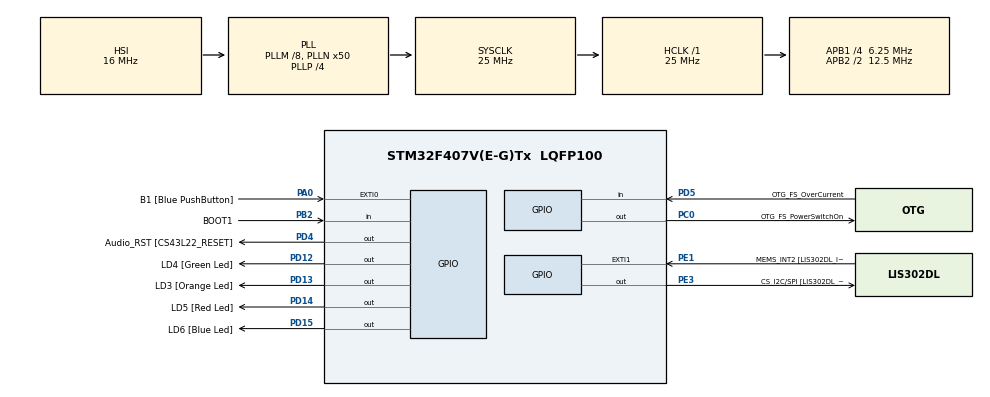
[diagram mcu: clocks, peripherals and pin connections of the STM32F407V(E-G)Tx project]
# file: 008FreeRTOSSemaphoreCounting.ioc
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Mcu.Family=STM32F4
Mcu.Name=STM32F407V(E-G)Tx
Mcu.Package=LQFP100
NVIC.PriorityGroup=NVIC_PRIORITYGROUP_0
NVIC.TIM6_DAC_IRQn=true\:0\:0\:false\:false\:true\:false\:true\:true
NVIC.TimeBase=TIM6_DAC_IRQn
NVIC.TimeBaseIP=TIM6
PA0-WKUP.GPIO_Label=B1 [Blue PushButton]
PA0-WKUP.Signal=GPXTI0
PA10.GPIO_Label=OTG_FS_ID
PA10.GPIO_Mode=GPIO_MODE_AF_PP
PA10.GPIO_PuPd=GPIO_NOPULL
PA10.GPIO_Speed=GPIO_SPEED_FREQ_LOW
PA10.Signal=USB_OTG_FS_ID
PA11.GPIO_Label=OTG_FS_DM
PA11.GPIO_Mode=GPIO_MODE_AF_PP
PA11.GPIO_PuPd=GPIO_NOPULL
PA11.GPIO_Speed=GPIO_SPEED_FREQ_LOW
PA11.Signal=USB_OTG_FS_DM
PA12.GPIO_Label=OTG_FS_DP
PA12.GPIO_Mode=GPIO_MODE_AF_PP
PA12.GPIO_PuPd=GPIO_NOPULL
PA12.GPIO_Speed=GPIO_SPEED_FREQ_LOW
PA12.Signal=USB_OTG_FS_DP
PA13.GPIO_Label=SWDIO
PA13.Signal=SYS_JTMS-SWDIO
PA14.GPIO_Label=SWCLK
PA14.Signal=SYS_JTCK-SWCLK
PA4.GPIO_Label=I2S3_WS [CS43L22_LRCK]
PA4.GPIO_Mode=GPIO_MODE_AF_PP
PA4.GPIO_PuPd=GPIO_NOPULL
PA4.GPIO_Speed=GPIO_SPEED_FREQ_LOW
PA4.Signal=I2S3_WS
PA5.GPIO_Label=SPI1_SCK [LIS302DL_SCL/SPC]
PA5.GPIO_Mode=GPIO_MODE_AF_PP
PA5.GPIO_PuPd=GPIO_NOPULL
PA5.GPIO_Speed=GPIO_SPEED_FREQ_LOW
PA5.Signal=SPI1_SCK
PA6.GPIO_Label=SPI1_MISO [LIS302DL_SDO]
PA6.GPIO_Mode=GPIO_MODE_AF_PP
PA6.GPIO_PuPd=GPIO_NOPULL
PA6.GPIO_Speed=GPIO_SPEED_FREQ_LOW
PA6.Signal=SPI1_MISO
PA7.GPIO_Label=SPI1_MOSI [LIS302DL_SDA/SDI/SDO]
PA7.GPIO_Mode=GPIO_MODE_AF_PP
PA7.GPIO_PuPd=GPIO_NOPULL
PA7.GPIO_Speed=GPIO_SPEED_FREQ_LOW
PA7.Signal=SPI1_MOSI
PA9.GPIO_Label=VBUS_FS
PA9.GPIO_Mode=GPIO_MODE_INPUT
PA9.GPIO_PuPd=GPIO_NOPULL
PA9.Signal=USB_OTG_FS_VBUS
PB10.GPIO_Label=CLK_IN [MP45DT02_CLK]
PB10.GPIO_Mode=GPIO_MODE_AF_PP
PB10.GPIO_PuPd=GPIO_NOPULL
PB10.GPIO_Speed=GPIO_SPEED_FREQ_LOW
PB10.Signal=I2S2_CK
PB2.GPIO_Label=BOOT1
PB2.GPIO_Mode=GPIO_MODE_INPUT
PB2.GPIO_PuPd=GPIO_NOPULL
PB2.Signal=GPIO_Input
PB3.GPIO_Label=SWO
PB3.Signal=SYS_JTDO-SWO
PB6.GPIO_Label=Audio_SCL [CS43L22_SCL]
PB6.GPIO_Mode=GPIO_MODE_AF_OD
PB6.GPIO_PuPd=GPIO_NOPULL
PB6.GPIO_Speed=GPIO_SPEED_FREQ_LOW
PB6.Signal=I2C1_SCL
PB9.GPIO_Label=Audio_SDA [CS43L22_SDA]
PB9.GPIO_Mode=GPIO_MODE_AF_OD
PB9.GPIO_PuPd=GPIO_NOPULL
PB9.GPIO_Speed=GPIO_SPEED_FREQ_LOW
PB9.Signal=I2C1_SDA
PC0.GPIO_Label=OTG_FS_PowerSwitchOn
PC0.GPIO_PuPd=GPIO_NOPULL
PC0.GPIO_Speed=GPIO_SPEED_FREQ_LOW
PC0.PinState=GPIO_PIN_SET
PC0.Signal=GPIO_Output
PC10.GPIO_Label=I2S3_SCK [CS43L22_SCLK]
PC10.GPIO_Mode=GPIO_MODE_AF_PP
PC10.GPIO_PuPd=GPIO_NOPULL
PC10.GPIO_Speed=GPIO_SPEED_FREQ_LOW
PC10.Signal=I2S3_CK
PC12.GPIO_Label=I2S3_SD [CS43L22_SDIN]
PC12.GPIO_Mode=GPIO_MODE_AF_PP
PC12.GPIO_PuPd=GPIO_NOPULL
PC12.GPIO_Speed=GPIO_SPEED_FREQ_LOW
PC12.Signal=I2S3_SD
PC14-OSC32_IN.GPIO_Label=PC14-OSC32_IN
PC14-OSC32_IN.Signal=RCC_OSC32_IN
PC15-OSC32_OUT.GPIO_Label=PC15-OSC32_OUT
PC15-OSC32_OUT.Signal=RCC_OSC32_OUT
PC3.GPIO_Label=PDM_OUT [MP45DT02_DOUT]
PC3.GPIO_Mode=GPIO_MODE_AF_PP
PC3.GPIO_PuPd=GPIO_NOPULL
PC3.GPIO_Speed=GPIO_SPEED_FREQ_LOW
PC3.Signal=I2S2_SD
PC7.GPIO_Label=I2S3_MCK [CS43L22_MCLK]
PC7.GPIO_Mode=GPIO_MODE_AF_PP
PC7.GPIO_PuPd=GPIO_NOPULL
PC7.GPIO_Speed=GPIO_SPEED_FREQ_LOW
PC7.Signal=I2S3_MCK
PD12.GPIO_Label=LD4 [Green Led]
PD12.GPIO_PuPd=GPIO_NOPULL
PD12.GPIO_Speed=GPIO_SPEED_FREQ_LOW
PD12.Signal=GPIO_Output
PD13.GPIO_Label=LD3 [Orange Led]
PD13.GPIO_PuPd=GPIO_NOPULL
PD13.GPIO_Speed=GPIO_SPEED_FREQ_LOW
PD13.Signal=GPIO_Output
PD14.GPIO_Label=LD5 [Red Led]
PD14.GPIO_PuPd=GPIO_NOPULL
PD14.GPIO_Speed=GPIO_SPEED_FREQ_LOW
PD14.Signal=GPIO_Output
PD15.GPIO_Label=LD6 [Blue Led]
PD15.GPIO_PuPd=GPIO_NOPULL
PD15.GPIO_Speed=GPIO_SPEED_FREQ_LOW
PD15.Signal=GPIO_Output
PD4.GPIO_Label=Audio_RST [CS43L22_RESET]
PD4.GPIO_PuPd=GPIO_NOPULL
PD4.GPIO_Speed=GPIO_SPEED_FREQ_LOW
PD4.Signal=GPIO_Output
PD5.GPIO_Label=OTG_FS_OverCurrent
PD5.GPIO_Mode=GPIO_MODE_INPUT
PD5.GPIO_PuPd=GPIO_NOPULL
PD5.Signal=GPIO_Input
PE1.GPIO_Label=MEMS_INT2 [LIS302DL_INT2]
PE1.GPIO_ModeDefaultEXTI=GPIO_MODE_EVT_RISING
PE1.GPIO_PuPd=GPIO_NOPULL
PE1.Signal=GPXTI1
PE3.GPIO_Label=CS_I2C/SPI [LIS302DL_CS_I2C/SPI]
PE3.GPIO_PuPd=GPIO_NOPULL
PE3.GPIO_Speed=GPIO_SPEED_FREQ_LOW
PE3.Signal=GPIO_Output
PH0-OSC_IN.GPIO_Label=PH0-OSC_IN
PH0-OSC_IN.Signal=RCC_OSC_IN
PH1-OSC_OUT.GPIO_Label=PH1-OSC_OUT
PH1-OSC_OUT.Signal=RCC_OSC_OUT
ProjectManager.HeapSize=0x200
ProjectManager.StackSize=0x400
ProjectManager.TargetToolchain=STM32CubeIDE
RCC.48MHZClocksFreq_Value=14285714.285714285
RCC.AHBFreq_Value=25000000
RCC.APB1CLKDivider=RCC_HCLK_DIV4
RCC.APB1Freq_Value=6250000
RCC.APB1TimFreq_Value=12500000
RCC.APB2CLKDivider=RCC_HCLK_DIV2
RCC.APB2Freq_Value=12500000
RCC.APB2TimFreq_Value=25000000
RCC.CortexFreq_Value=25000000
RCC.HCLKFreq_Value=25000000
RCC.HSE_VALUE=8000000
RCC.HSI_VALUE=16000000
RCC.LSE_VALUE=32768
RCC.PLLM=8
RCC.PLLN=50
RCC.PLLP=RCC_PLLP_DIV4
RCC.PLLQ=7
RCC.SYSCLKFreq_VALUE=25000000
RCC.SYSCLKSource=RCC_SYSCLKSOURCE_PLLCLK
RCC.VCOOutputFreq_Value=100000000
VP_SYS_VS_tim6.Mode=TIM6
board=STM32F407G-DISC1

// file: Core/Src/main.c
/* USER CODE BEGIN Header */
/**
  ******************************************************************************
  * @file           : main.c
  * @brief          : Main program body
  ******************************************************************************
  * @attention
  *
  * Copyright (c) 2024 STMicroelectronics.
  * All rights reserved.
  *
  * This software is licensed under terms that can be found in the LICENSE file
  * in the root directory of this software component.
  * If no LICENSE file comes with this software, it is provided AS-IS.
  *
  ******************************************************************************
  */
/* USER CODE END Header */
#include "main.h"

/* USER CODE BEGIN Includes */
#include <stdint.h>
#include <stdlib.h>
#include "FreeRTOS.h"
#include "task.h"
#include "semphr.h"
/* USER CODE END Includes */

/* USER CODE BEGIN PD */
#define DWT_CTRL					(*(volatile uint32_t *) 0xE0001000U)

#define GREEN_LED_PIN				LD4_Pin
#define BLUE_LED_PIN				LD6_Pin
#define RED_LED_PIN					LD5_Pin

#define MAX_TASK_COUNT				5
#define MANAGER_TASK_DELAY			25
#define MANAGER_TASK_FAIL_DELAY		10
#define MAX_TASK_COMPLETION_DELAY	100
#define MIN_TASK_COMPLETION_TIME	10
#define EMPLOYEE_TASK_CHECK_DELAY	1
#define TASK_GPIO_DELAY_COUNT		10

/* USER CODE END PD */

/* USER CODE BEGIN PV */
TaskHandle_t task_handle_manager_task;
TaskHandle_t task_handle_employee_task;

SemaphoreHandle_t TaskSemaphore = NULL;

/* USER CODE END PV */

void SystemClock_Config(void);
static void MX_GPIO_Init(void);
/* USER CODE BEGIN PFP */
static void manager_task(void *params);
static void employee_task(void *params);
static void set_task_led(void);
static void clear_task_led(void);
static uint32_t get_task_completion_time(void);
static void get_pending_report(void);

/* USER CODE END PFP */

int main(void)
{
  /* USER CODE BEGIN 1 */
  BaseType_t status;

  /* USER CODE END 1 */

  /* MCU Configuration--------------------------------------------------------*/

  /* Reset of all peripherals, Initializes the Flash interface and the Systick. */
  HAL_Init();

  /* Configure the system clock */
  SystemClock_Config();

  /* Initialize all configured peripherals */
  MX_GPIO_Init();
  /* USER CODE BEGIN 2 */
  //Enable the DWT (Data Watch Point) Cycle Count Feature
  DWT_CTRL |= (1 << 0);

  //Enabling SEGGER SYSVIEW event tracing
  SEGGER_SYSVIEW_Conf();
  SEGGER_SYSVIEW_Start();

  status = xTaskCreate(manager_task,"manager_task",1024,NULL,2,&task_handle_manager_task);
  configASSERT(status == pdPASS);

  status = xTaskCreate(employee_task,"employee_task",1024,NULL,2,&task_handle_employee_task);
  configASSERT(status == pdPASS);

  TaskSemaphore = xSemaphoreCreateCounting(MAX_TASK_COUNT,0);
  configASSERT(TaskSemaphore != NULL);

  vTaskStartScheduler();
  /* USER CODE END 2 */

  /* Infinite loop */
  while (1)
  {

  }
}

void SystemClock_Config(void)
{
  RCC_OscInitTypeDef RCC_OscInitStruct = {0};
  RCC_ClkInitTypeDef RCC_ClkInitStruct = {0};

  /** Configure the main internal regulator output voltage
  */
  __HAL_RCC_PWR_CLK_ENABLE();
  __HAL_PWR_VOLTAGESCALING_CONFIG(PWR_REGULATOR_VOLTAGE_SCALE1);

  /** Initializes the RCC Oscillators according to the specified parameters
  * in the RCC_OscInitTypeDef structure.
  */
  RCC_OscInitStruct.OscillatorType = RCC_OSCILLATORTYPE_HSI;
  RCC_OscInitStruct.HSIState = RCC_HSI_ON;
  RCC_OscInitStruct.HSICalibrationValue = RCC_HSICALIBRATION_DEFAULT;
  RCC_OscInitStruct.PLL.PLLState = RCC_PLL_ON;
  RCC_OscInitStruct.PLL.PLLSource = RCC_PLLSOURCE_HSI;
  RCC_OscInitStruct.PLL.PLLM = 8;
  RCC_OscInitStruct.PLL.PLLN = 50;
  RCC_OscInitStruct.PLL.PLLP = RCC_PLLP_DIV4;
  RCC_OscInitStruct.PLL.PLLQ = 7;
  if (HAL_RCC_OscConfig(&RCC_OscInitStruct) != HAL_OK)
  {
    Error_Handler();
  }

  /** Initializes the CPU, AHB and APB buses clocks
  */
  RCC_ClkInitStruct.ClockType = RCC_CLOCKTYPE_HCLK|RCC_CLOCKTYPE_SYSCLK
                              |RCC_CLOCKTYPE_PCLK1|RCC_CLOCKTYPE_PCLK2;
  RCC_ClkInitStruct.SYSCLKSource = RCC_SYSCLKSOURCE_PLLCLK;
  RCC_ClkInitStruct.AHBCLKDivider = RCC_SYSCLK_DIV1;
  RCC_ClkInitStruct.APB1CLKDivider = RCC_HCLK_DIV4;
  RCC_ClkInitStruct.APB2CLKDivider = RCC_HCLK_DIV2;

  if (HAL_RCC_ClockConfig(&RCC_ClkInitStruct, FLASH_LATENCY_0) != HAL_OK)
  {
    Error_Handler();
  }
}

static void MX_GPIO_Init(void)
{
  GPIO_InitTypeDef GPIO_InitStruct = {0};

  /* GPIO Ports Clock Enable */
  __HAL_RCC_GPIOE_CLK_ENABLE();
  __HAL_RCC_GPIOC_CLK_ENABLE();
  __HAL_RCC_GPIOH_CLK_ENABLE();
  __HAL_RCC_GPIOA_CLK_ENABLE();
  __HAL_RCC_GPIOB_CLK_ENABLE();
  __HAL_RCC_GPIOD_CLK_ENABLE();

  /*Configure GPIO pin Output Level */
  HAL_GPIO_WritePin(CS_I2C_SPI_GPIO_Port, CS_I2C_SPI_Pin, GPIO_PIN_RESET);

  /*Configure GPIO pin Output Level */
  HAL_GPIO_WritePin(OTG_FS_PowerSwitchOn_GPIO_Port, OTG_FS_PowerSwitchOn_Pin, GPIO_PIN_SET);

  /*Configure GPIO pin Output Level */
  HAL_GPIO_WritePin(GPIOD, LD4_Pin|LD3_Pin|LD5_Pin|LD6_Pin
                          |Audio_RST_Pin, GPIO_PIN_RESET);

  /*Configure GPIO pin : CS_I2C_SPI_Pin */
  GPIO_InitStruct.Pin = CS_I2C_SPI_Pin;
  GPIO_InitStruct.Mode = GPIO_MODE_OUTPUT_PP;
  GPIO_InitStruct.Pull = GPIO_NOPULL;
  GPIO_InitStruct.Speed = GPIO_SPEED_FREQ_LOW;
  HAL_GPIO_Init(CS_I2C_SPI_GPIO_Port, &GPIO_InitStruct);

  /*Configure GPIO pin : OTG_FS_PowerSwitchOn_Pin */
  GPIO_InitStruct.Pin = OTG_FS_PowerSwitchOn_Pin;
  GPIO_InitStruct.Mode = GPIO_MODE_OUTPUT_PP;
  GPIO_InitStruct.Pull = GPIO_NOPULL;
  GPIO_InitStruct.Speed = GPIO_SPEED_FREQ_LOW;
  HAL_GPIO_Init(OTG_FS_PowerSwitchOn_GPIO_Port, &GPIO_InitStruct);

  /*Configure GPIO pin : PDM_OUT_Pin */
  GPIO_InitStruct.Pin = PDM_OUT_Pin;
  GPIO_InitStruct.Mode = GPIO_MODE_AF_PP;
  GPIO_InitStruct.Pull = GPIO_NOPULL;
  GPIO_InitStruct.Speed = GPIO_SPEED_FREQ_LOW;
  GPIO_InitStruct.Alternate = GPIO_AF5_SPI2;
  HAL_GPIO_Init(PDM_OUT_GPIO_Port, &GPIO_InitStruct);

  /*Configure GPIO pin : B1_Pin */
  GPIO_InitStruct.Pin = B1_Pin;
  GPIO_InitStruct.Mode = GPIO_MODE_IT_RISING;
  GPIO_InitStruct.Pull = GPIO_NOPULL;
  HAL_GPIO_Init(B1_GPIO_Port, &GPIO_InitStruct);

  /*Configure GPIO pin : I2S3_WS_Pin */
  GPIO_InitStruct.Pin = I2S3_WS_Pin;
  GPIO_InitStruct.Mode = GPIO_MODE_AF_PP;
  GPIO_InitStruct.Pull = GPIO_NOPULL;
  GPIO_InitStruct.Speed = GPIO_SPEED_FREQ_LOW;
  GPIO_InitStruct.Alternate = GPIO_AF6_SPI3;
  HAL_GPIO_Init(I2S3_WS_GPIO_Port, &GPIO_InitStruct);

  /*Configure GPIO pins : SPI1_SCK_Pin SPI1_MISO_Pin SPI1_MOSI_Pin */
  GPIO_InitStruct.Pin = SPI1_SCK_Pin|SPI1_MISO_Pin|SPI1_MOSI_Pin;
  GPIO_InitStruct.Mode = GPIO_MODE_AF_PP;
  GPIO_InitStruct.Pull = GPIO_NOPULL;
  GPIO_InitStruct.Speed = GPIO_SPEED_FREQ_LOW;
  GPIO_InitStruct.Alternate = GPIO_AF5_SPI1;
  HAL_GPIO_Init(GPIOA, &GPIO_InitStruct);

  /*Configure GPIO pin : BOOT1_Pin */
  GPIO_InitStruct.Pin = BOOT1_Pin;
  GPIO_InitStruct.Mode = GPIO_MODE_INPUT;
  GPIO_InitStruct.Pull = GPIO_NOPULL;
  HAL_GPIO_Init(BOOT1_GPIO_Port, &GPIO_InitStruct);

  /*Configure GPIO pin : CLK_IN_Pin */
  GPIO_InitStruct.Pin = CLK_IN_Pin;
  GPIO_InitStruct.Mode = GPIO_MODE_AF_PP;
  GPIO_InitStruct.Pull = GPIO_NOPULL;
  GPIO_InitStruct.Speed = GPIO_SPEED_FREQ_LOW;
  GPIO_InitStruct.Alternate = GPIO_AF5_SPI2;
  HAL_GPIO_Init(CLK_IN_GPIO_Port, &GPIO_InitStruct);

  /*Configure GPIO pins : LD4_Pin LD3_Pin LD5_Pin LD6_Pin
                           Audio_RST_Pin */
  GPIO_InitStruct.Pin = LD4_Pin|LD3_Pin|LD5_Pin|LD6_Pin
                          |Audio_RST_Pin;
  GPIO_InitStruct.Mode = GPIO_MODE_OUTPUT_PP;
  GPIO_InitStruct.Pull = GPIO_NOPULL;
  GPIO_InitStruct.Speed = GPIO_SPEED_FREQ_LOW;
  HAL_GPIO_Init(GPIOD, &GPIO_InitStruct);

  /*Configure GPIO pins : I2S3_MCK_Pin I2S3_SCK_Pin I2S3_SD_Pin */
  GPIO_InitStruct.Pin = I2S3_MCK_Pin|I2S3_SCK_Pin|I2S3_SD_Pin;
  GPIO_InitStruct.Mode = GPIO_MODE_AF_PP;
  GPIO_InitStruct.Pull = GPIO_NOPULL;
  GPIO_InitStruct.Speed = GPIO_SPEED_FREQ_LOW;
  GPIO_InitStruct.Alternate = GPIO_AF6_SPI3;
  HAL_GPIO_Init(GPIOC, &GPIO_InitStruct);

  /*Configure GPIO pin : VBUS_FS_Pin */
  GPIO_InitStruct.Pin = VBUS_FS_Pin;
  GPIO_InitStruct.Mode = GPIO_MODE_INPUT;
  GPIO_InitStruct.Pull = GPIO_NOPULL;
  HAL_GPIO_Init(VBUS_FS_GPIO_Port, &GPIO_InitStruct);

  /*Configure GPIO pins : OTG_FS_ID_Pin OTG_FS_DM_Pin OTG_FS_DP_Pin */
  GPIO_InitStruct.Pin = OTG_FS_ID_Pin|OTG_FS_DM_Pin|OTG_FS_DP_Pin;
  GPIO_InitStruct.Mode = GPIO_MODE_AF_PP;
  GPIO_InitStruct.Pull = GPIO_NOPULL;
  GPIO_InitStruct.Speed = GPIO_SPEED_FREQ_LOW;
  GPIO_InitStruct.Alternate = GPIO_AF10_OTG_FS;
  HAL_GPIO_Init(GPIOA, &GPIO_InitStruct);

  /*Configure GPIO pin : OTG_FS_OverCurrent_Pin */
  GPIO_InitStruct.Pin = OTG_FS_OverCurrent_Pin;
  GPIO_InitStruct.Mode = GPIO_MODE_INPUT;
  GPIO_InitStruct.Pull = GPIO_NOPULL;
  HAL_GPIO_Init(OTG_FS_OverCurrent_GPIO_Port, &GPIO_InitStruct);

  /*Configure GPIO pins : Audio_SCL_Pin Audio_SDA_Pin */
  GPIO_InitStruct.Pin = Audio_SCL_Pin|Audio_SDA_Pin;
  GPIO_InitStruct.Mode = GPIO_MODE_AF_OD;
  GPIO_InitStruct.Pull = GPIO_NOPULL;
  GPIO_InitStruct.Speed = GPIO_SPEED_FREQ_LOW;
  GPIO_InitStruct.Alternate = GPIO_AF4_I2C1;
  HAL_GPIO_Init(GPIOB, &GPIO_InitStruct);

  /*Configure GPIO pin : MEMS_INT2_Pin */
  GPIO_InitStruct.Pin = MEMS_INT2_Pin;
  GPIO_InitStruct.Mode = GPIO_MODE_EVT_RISING;
  GPIO_InitStruct.Pull = GPIO_NOPULL;
  HAL_GPIO_Init(MEMS_INT2_GPIO_Port, &GPIO_InitStruct);

}

/* USER CODE BEGIN 4 */

static void manager_task(void *params)
{
	static uint32_t task_count = 0;

	while(1)
	{
		if(xSemaphoreGive(TaskSemaphore) == pdTRUE)
		{
			task_count++;
			SEGGER_SYSVIEW_PrintfHost("Manager: Task %d added to queue",task_count);
			get_pending_report();
			vTaskDelay(MANAGER_TASK_DELAY);
		}
		else
		{
			SEGGER_SYSVIEW_PrintfHost("Manager: Task could not be added to queue");
			vTaskDelay(MANAGER_TASK_FAIL_DELAY);
		}
	}
}

static void employee_task(void *params)
{
	static uint32_t task_done_count = 0;
	static uint32_t task_completion_time;

	while(1)
	{
		if(xSemaphoreTake(TaskSemaphore,0) == pdTRUE)
		{
			task_done_count++;
			SEGGER_SYSVIEW_PrintfHost("Employee: Task %d started",task_done_count);
			set_task_led();
			task_completion_time = get_task_completion_time();
			vTaskDelay(task_completion_time);
			clear_task_led();
			SEGGER_SYSVIEW_PrintfHost("Employee: Task %d completed",task_done_count);
		}
		else
		{
			SEGGER_SYSVIEW_PrintfHost("Employee: No Task available. Re-check after %d ticks",EMPLOYEE_TASK_CHECK_DELAY);
			vTaskDelay(EMPLOYEE_TASK_CHECK_DELAY);
		}
	}
}

static void get_pending_report(void)
{
	UBaseType_t pending_tasks;

	pending_tasks = uxSemaphoreGetCount(TaskSemaphore);
	SEGGER_SYSVIEW_PrintfHost("Pending Tasks: %d",pending_tasks);
}

static void set_task_led(void)
{
	HAL_GPIO_WritePin(GPIOD,BLUE_LED_PIN,1);
}

static void clear_task_led(void)
{
	HAL_GPIO_WritePin(GPIOD,BLUE_LED_PIN,0);
}

static uint32_t get_task_completion_time(void)
{
	uint32_t rnum;

	rnum = rand() % MAX_TASK_COMPLETION_DELAY;

	return rnum + MIN_TASK_COMPLETION_TIME;
}

/* USER CODE END 4 */

void HAL_TIM_PeriodElapsedCallback(TIM_HandleTypeDef *htim)
{
  if (htim->Instance == TIM6) {
    HAL_IncTick();
  }
}

void Error_Handler(void)
{
  __disable_irq();
  while (1)
  {
  }
}
